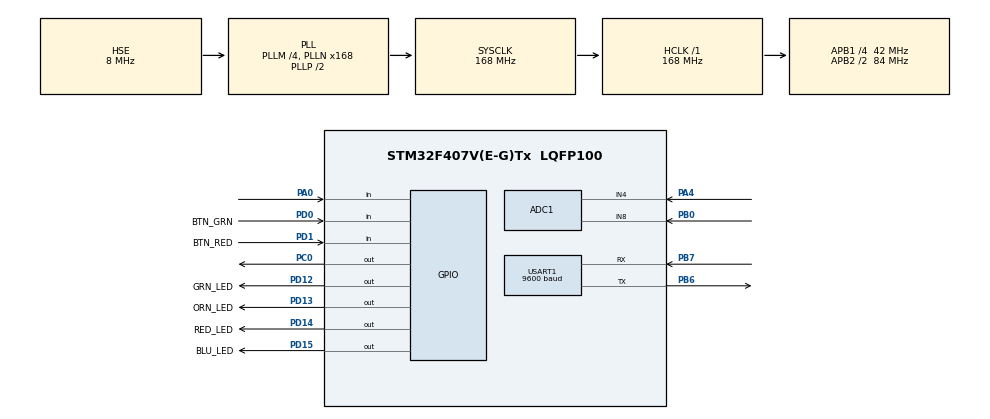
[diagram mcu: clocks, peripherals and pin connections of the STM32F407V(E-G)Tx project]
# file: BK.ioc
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ADC1.Channel-0\#ChannelRegularConversion=ADC_CHANNEL_4
ADC1.Channel-1\#ChannelRegularConversion=ADC_CHANNEL_8
ADC1.ClockPrescaler=ADC_CLOCK_SYNC_PCLK_DIV8
ADC1.ContinuousConvMode=ENABLE
ADC1.DMAContinuousRequests=ENABLE
ADC1.NbrOfConversion=2
ADC1.NbrOfConversionFlag=1
ADC1.Rank-0\#ChannelRegularConversion=1
ADC1.Rank-1\#ChannelRegularConversion=2
ADC1.SamplingTime-0\#ChannelRegularConversion=ADC_SAMPLETIME_480CYCLES
ADC1.SamplingTime-1\#ChannelRegularConversion=ADC_SAMPLETIME_480CYCLES
ADC1.ScanConvMode=ENABLE
ADC1.master=1
Dma.ADC1.0.Direction=DMA_PERIPH_TO_MEMORY
Dma.ADC1.0.FIFOMode=DMA_FIFOMODE_DISABLE
Dma.ADC1.0.Instance=DMA2_Stream0
Dma.ADC1.0.MemDataAlignment=DMA_MDATAALIGN_WORD
Dma.ADC1.0.MemInc=DMA_MINC_ENABLE
Dma.ADC1.0.Mode=DMA_CIRCULAR
Dma.ADC1.0.PeriphDataAlignment=DMA_PDATAALIGN_WORD
Dma.ADC1.0.PeriphInc=DMA_PINC_DISABLE
Dma.ADC1.0.Priority=DMA_PRIORITY_LOW
Dma.Request0=ADC1
Mcu.Family=STM32F4
Mcu.Name=STM32F407V(E-G)Tx
Mcu.Package=LQFP100
NVIC.DMA2_Stream0_IRQn=true\:0\:0\:false\:false\:true\:false\:true
NVIC.PriorityGroup=NVIC_PRIORITYGROUP_0
NVIC.TIM2_IRQn=true\:0\:0\:false\:false\:true\:true\:true
NVIC.USART1_IRQn=true\:0\:0\:false\:false\:true\:true\:true
PA0-WKUP.Signal=GPIO_Input
PA4.Signal=ADCx_IN4
PB0.Signal=ADCx_IN8
PB6.Mode=Asynchronous
PB6.Signal=USART1_TX
PB7.Mode=Asynchronous
PB7.Signal=USART1_RX
PC0.Signal=GPIO_Output
PD0.GPIO_Label=BTN_GRN
PD0.GPIO_PuPd=GPIO_PULLUP
PD0.Signal=GPIO_Input
PD1.GPIO_Label=BTN_RED
PD1.GPIO_PuPd=GPIO_PULLUP
PD1.Signal=GPIO_Input
PD12.GPIO_Label=GRN_LED
PD12.Signal=GPIO_Output
PD13.GPIO_Label=ORN_LED
PD13.Signal=GPIO_Output
PD14.GPIO_Label=RED_LED
PD14.Signal=GPIO_Output
PD15.GPIO_Label=BLU_LED
PD15.Signal=GPIO_Output
PH0-OSC_IN.Mode=HSE-External-Oscillator
PH0-OSC_IN.Signal=RCC_OSC_IN
PH1-OSC_OUT.Mode=HSE-External-Oscillator
PH1-OSC_OUT.Signal=RCC_OSC_OUT
ProjectManager.HeapSize=0x200
ProjectManager.StackSize=0x400
ProjectManager.TargetToolchain=STM32CubeIDE
RCC.48MHZClocksFreq_Value=48000000
RCC.AHBFreq_Value=168000000
RCC.APB1CLKDivider=RCC_HCLK_DIV4
RCC.APB1Freq_Value=42000000
RCC.APB1TimFreq_Value=84000000
RCC.APB2CLKDivider=RCC_HCLK_DIV2
RCC.APB2Freq_Value=84000000
RCC.APB2TimFreq_Value=168000000
RCC.CortexFreq_Value=168000000
RCC.HCLKFreq_Value=168000000
RCC.HSE_VALUE=8000000
RCC.HSI_VALUE=16000000
RCC.LSE_VALUE=32768
RCC.PLLM=4
RCC.PLLN=168
RCC.PLLQ=7
RCC.PLLSourceVirtual=RCC_PLLSOURCE_HSE
RCC.SYSCLKFreq_VALUE=168000000
RCC.SYSCLKSource=RCC_SYSCLKSOURCE_PLLCLK
RCC.VCOOutputFreq_Value=336000000
SH.ADCx_IN4.0=ADC1_IN4,IN4
SH.ADCx_IN8.0=ADC1_IN8,IN8
TIM2.Period=1
TIM2.Prescaler=42000
USART1.BaudRate=9600
USART1.VirtualMode=VM_ASYNC
VP_TIM2_VS_ClockSourceINT.Mode=Internal
board=STM32F407G-DISC1

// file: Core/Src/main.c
/* USER CODE BEGIN Header */
/**
  ******************************************************************************
  * @file           : main.c
  * @brief          : Main program body
  ******************************************************************************
  * @attention
  *
  * <h2><center>&copy; Copyright (c) 2020 STMicroelectronics.
  * All rights reserved.</center></h2>
  *
  * This software component is licensed by ST under Ultimate Liberty license
  * SLA0044, the "License"; You may not use this file except in compliance with
  * the License. You may obtain a copy of the License at:
  *                             www.st.com/SLA0044
  *
  ******************************************************************************
  */
/* USER CODE END Header */
#include "main.h"

ADC_HandleTypeDef hadc1;
DMA_HandleTypeDef hdma_adc1;

TIM_HandleTypeDef htim2;

UART_HandleTypeDef huart1;

/* USER CODE BEGIN PV */

//------------------------------------------------------------------------------------- UART variables
uint8_t U1_RxChar;

//------------------------------------------------------------------------------------- ADC variables
uint32_t ADC1_Values[2];							// DMA puts integer conversions here
float ADC1_4V;                        // We convert to volts and save it in these variables
float ADC1_8V;

// ------------ Utility Timer Variables
uint16_t B1dbTimer;
uint8_t B1Pressed_F;
uint8_t B1ActionTaken_F;
uint16_t B1HoldTime;

uint16_t BGrnDbTimer;
uint8_t BGrnPressed_F;
uint8_t BGrnActionTaken_F;
uint16_t BGrnHoldTime;

uint16_t BRedDbTimer;
uint8_t BRedPressed_F;
uint8_t BRedActionTaken_F;
uint16_t BRedHoldTime;

// msec Timing: Make utility timers 16-bit
uint16_t TestTimer;

// sec Timing
uint16_t SecsCounter;

// LED Direction
uint8_t LedDirection = CLOCKWISE;
uint8_t LedStates[] = { LED_RED, LED_BLU, LED_GRN, LED_ORN };
uint8_t LedCount = 4;
uint8_t LedStatesIndex = 0;
uint16_t LEDWaitTimeMs = 1000;

/* USER CODE END PV */

void SystemClock_Config(void);
static void MX_GPIO_Init(void);
static void MX_TIM2_Init(void);
static void MX_DMA_Init(void);
static void MX_ADC1_Init(void);
static void MX_USART1_UART_Init(void);
/* USER CODE BEGIN PFP */
void CheckSWs(void);
void CheckPots(void);
void UpdateLEDState(void);
void handleBtn1Pressed(void);
void handleBtnGrnPressed(void);
void handleBtnRedPressed(void);
/* USER CODE END PFP */

int main(void)
{
  /* USER CODE BEGIN 1 */
  char WorkStr[32];

  /* USER CODE END 1 */

  /* MCU Configuration--------------------------------------------------------*/

  /* Reset of all peripherals, Initializes the Flash interface and the Systick. */
  HAL_Init();

  /* Configure the system clock */
  SystemClock_Config();

  /* Initialize all configured peripherals */
  MX_GPIO_Init();
  MX_TIM2_Init();
  MX_DMA_Init();
  MX_ADC1_Init();
  MX_USART1_UART_Init();
  /* USER CODE BEGIN 2 */
  HAL_TIM_Base_Start_IT(&htim2);
  USART1->CR1 |= 1<<5;  //USART1_CR1_RE;  // Enable RXNE interrupt (receiver not empty)
  HAL_ADC_Start_DMA(&hadc1, (uint32_t *) ADC1_Values, 2);
  /* USER CODE END 2 */

  /* Infinite loop */
  while (1)
  {

    /* USER CODE BEGIN 3 */

	if (!TestTimer)
	{
		TestTimer = 100;
		sprintf(WorkStr, "Red input: %3.2f   Green Input: %3.2f\r\n", ADC1_4V, ADC1_8V);
		HAL_UART_Transmit(&huart1, (uint8_t*) WorkStr, strlen(WorkStr), 100);
	}

	CheckPots();
	CheckSWs();
	UpdateLEDState();

  }
  /* USER CODE END 3 */
}

void SystemClock_Config(void)
{
  RCC_OscInitTypeDef RCC_OscInitStruct = {0};
  RCC_ClkInitTypeDef RCC_ClkInitStruct = {0};

  /** Configure the main internal regulator output voltage
  */
  __HAL_RCC_PWR_CLK_ENABLE();
  __HAL_PWR_VOLTAGESCALING_CONFIG(PWR_REGULATOR_VOLTAGE_SCALE1);
  /** Initializes the RCC Oscillators according to the specified parameters
  * in the RCC_OscInitTypeDef structure.
  */
  RCC_OscInitStruct.OscillatorType = RCC_OSCILLATORTYPE_HSE;
  RCC_OscInitStruct.HSEState = RCC_HSE_ON;
  RCC_OscInitStruct.PLL.PLLState = RCC_PLL_ON;
  RCC_OscInitStruct.PLL.PLLSource = RCC_PLLSOURCE_HSE;
  RCC_OscInitStruct.PLL.PLLM = 4;
  RCC_OscInitStruct.PLL.PLLN = 168;
  RCC_OscInitStruct.PLL.PLLP = RCC_PLLP_DIV2;
  RCC_OscInitStruct.PLL.PLLQ = 7;
  if (HAL_RCC_OscConfig(&RCC_OscInitStruct) != HAL_OK)
  {
    Error_Handler();
  }
  /** Initializes the CPU, AHB and APB buses clocks
  */
  RCC_ClkInitStruct.ClockType = RCC_CLOCKTYPE_HCLK|RCC_CLOCKTYPE_SYSCLK
                              |RCC_CLOCKTYPE_PCLK1|RCC_CLOCKTYPE_PCLK2;
  RCC_ClkInitStruct.SYSCLKSource = RCC_SYSCLKSOURCE_PLLCLK;
  RCC_ClkInitStruct.AHBCLKDivider = RCC_SYSCLK_DIV1;
  RCC_ClkInitStruct.APB1CLKDivider = RCC_HCLK_DIV4;
  RCC_ClkInitStruct.APB2CLKDivider = RCC_HCLK_DIV2;

  if (HAL_RCC_ClockConfig(&RCC_ClkInitStruct, FLASH_LATENCY_5) != HAL_OK)
  {
    Error_Handler();
  }
}

static void MX_ADC1_Init(void)
{

  ADC_ChannelConfTypeDef sConfig = {0};

  /** Configure the global features of the ADC (Clock, Resolution, Data Alignment and number of conversion)
  */
  hadc1.Instance = ADC1;
  hadc1.Init.ClockPrescaler = ADC_CLOCK_SYNC_PCLK_DIV8;
  hadc1.Init.Resolution = ADC_RESOLUTION_12B;
  hadc1.Init.ScanConvMode = ENABLE;
  hadc1.Init.ContinuousConvMode = ENABLE;
  hadc1.Init.DiscontinuousConvMode = DISABLE;
  hadc1.Init.ExternalTrigConvEdge = ADC_EXTERNALTRIGCONVEDGE_NONE;
  hadc1.Init.ExternalTrigConv = ADC_SOFTWARE_START;
  hadc1.Init.DataAlign = ADC_DATAALIGN_RIGHT;
  hadc1.Init.NbrOfConversion = 2;
  hadc1.Init.DMAContinuousRequests = ENABLE;
  hadc1.Init.EOCSelection = ADC_EOC_SINGLE_CONV;
  if (HAL_ADC_Init(&hadc1) != HAL_OK)
  {
    Error_Handler();
  }
  /** Configure for the selected ADC regular channel its corresponding rank in the sequencer and its sample time.
  */
  sConfig.Channel = ADC_CHANNEL_4;
  sConfig.Rank = 1;
  sConfig.SamplingTime = ADC_SAMPLETIME_480CYCLES;
  if (HAL_ADC_ConfigChannel(&hadc1, &sConfig) != HAL_OK)
  {
    Error_Handler();
  }
  /** Configure for the selected ADC regular channel its corresponding rank in the sequencer and its sample time.
  */
  sConfig.Channel = ADC_CHANNEL_8;
  sConfig.Rank = 2;
  if (HAL_ADC_ConfigChannel(&hadc1, &sConfig) != HAL_OK)
  {
    Error_Handler();
  }

}

static void MX_TIM2_Init(void)
{

  TIM_ClockConfigTypeDef sClockSourceConfig = {0};
  TIM_MasterConfigTypeDef sMasterConfig = {0};

  htim2.Instance = TIM2;
  htim2.Init.Prescaler = 42000;
  htim2.Init.CounterMode = TIM_COUNTERMODE_UP;
  htim2.Init.Period = 1;
  htim2.Init.ClockDivision = TIM_CLOCKDIVISION_DIV1;
  htim2.Init.AutoReloadPreload = TIM_AUTORELOAD_PRELOAD_DISABLE;
  if (HAL_TIM_Base_Init(&htim2) != HAL_OK)
  {
    Error_Handler();
  }
  sClockSourceConfig.ClockSource = TIM_CLOCKSOURCE_INTERNAL;
  if (HAL_TIM_ConfigClockSource(&htim2, &sClockSourceConfig) != HAL_OK)
  {
    Error_Handler();
  }
  sMasterConfig.MasterOutputTrigger = TIM_TRGO_RESET;
  sMasterConfig.MasterSlaveMode = TIM_MASTERSLAVEMODE_DISABLE;
  if (HAL_TIMEx_MasterConfigSynchronization(&htim2, &sMasterConfig) != HAL_OK)
  {
    Error_Handler();
  }

}

static void MX_USART1_UART_Init(void)
{

  huart1.Instance = USART1;
  huart1.Init.BaudRate = 9600;
  huart1.Init.WordLength = UART_WORDLENGTH_8B;
  huart1.Init.StopBits = UART_STOPBITS_1;
  huart1.Init.Parity = UART_PARITY_NONE;
  huart1.Init.Mode = UART_MODE_TX_RX;
  huart1.Init.HwFlowCtl = UART_HWCONTROL_NONE;
  huart1.Init.OverSampling = UART_OVERSAMPLING_16;
  if (HAL_UART_Init(&huart1) != HAL_OK)
  {
    Error_Handler();
  }

}

static void MX_DMA_Init(void)
{

  /* DMA controller clock enable */
  __HAL_RCC_DMA2_CLK_ENABLE();

  /* DMA interrupt init */
  /* DMA2_Stream0_IRQn interrupt configuration */
  HAL_NVIC_SetPriority(DMA2_Stream0_IRQn, 0, 0);
  HAL_NVIC_EnableIRQ(DMA2_Stream0_IRQn);

}

static void MX_GPIO_Init(void)
{
  GPIO_InitTypeDef GPIO_InitStruct = {0};

  /* GPIO Ports Clock Enable */
  __HAL_RCC_GPIOH_CLK_ENABLE();
  __HAL_RCC_GPIOC_CLK_ENABLE();
  __HAL_RCC_GPIOA_CLK_ENABLE();
  __HAL_RCC_GPIOB_CLK_ENABLE();
  __HAL_RCC_GPIOD_CLK_ENABLE();

  /*Configure GPIO pin Output Level */
  HAL_GPIO_WritePin(GPIOC, GPIO_PIN_0, GPIO_PIN_RESET);

  /*Configure GPIO pin Output Level */
  HAL_GPIO_WritePin(GPIOD, GRN_LED_Pin|ORN_LED_Pin|RED_LED_Pin|BLU_LED_Pin, GPIO_PIN_RESET);

  /*Configure GPIO pin : PC0 */
  GPIO_InitStruct.Pin = GPIO_PIN_0;
  GPIO_InitStruct.Mode = GPIO_MODE_OUTPUT_PP;
  GPIO_InitStruct.Pull = GPIO_NOPULL;
  GPIO_InitStruct.Speed = GPIO_SPEED_FREQ_LOW;
  HAL_GPIO_Init(GPIOC, &GPIO_InitStruct);

  /*Configure GPIO pin : PA0 */
  GPIO_InitStruct.Pin = GPIO_PIN_0;
  GPIO_InitStruct.Mode = GPIO_MODE_INPUT;
  GPIO_InitStruct.Pull = GPIO_NOPULL;
  HAL_GPIO_Init(GPIOA, &GPIO_InitStruct);

  /*Configure GPIO pins : GRN_LED_Pin ORN_LED_Pin RED_LED_Pin BLU_LED_Pin */
  GPIO_InitStruct.Pin = GRN_LED_Pin|ORN_LED_Pin|RED_LED_Pin|BLU_LED_Pin;
  GPIO_InitStruct.Mode = GPIO_MODE_OUTPUT_PP;
  GPIO_InitStruct.Pull = GPIO_NOPULL;
  GPIO_InitStruct.Speed = GPIO_SPEED_FREQ_LOW;
  HAL_GPIO_Init(GPIOD, &GPIO_InitStruct);

  /*Configure GPIO pins : BTN_GRN_Pin BTN_RED_Pin */
  GPIO_InitStruct.Pin = BTN_GRN_Pin|BTN_RED_Pin;
  GPIO_InitStruct.Mode = GPIO_MODE_INPUT;
  GPIO_InitStruct.Pull = GPIO_PULLUP;
  HAL_GPIO_Init(GPIOD, &GPIO_InitStruct);

}

/* USER CODE BEGIN 4 */
// Use TIM2 as 1ms utility timer...
void HAL_TIM_PeriodElapsedCallback(TIM_HandleTypeDef *htim)
{
	// --------------------------------------------
	// Millisecond timers:
	// --------------------------------------------

	// These timers can be disabled... Set the timer to TIMER_DISABLE (Defined as 0xFFFFFF) and then
	if (TestTimer)
		TestTimer--;

	++SecsCounter;
	if ( SecsCounter == 1000)
	{
		SecsCounter = 0;

		// Handle any 1 sec events or counters...
//		BLU_LED_TOGGLE();
	}

	if ( B1 != BUTTON_PRESSED)
	{
		B1dbTimer = 0;
		B1Pressed_F = FALSE;
	}
	else
	{
		if (B1dbTimer < 255)
			++B1dbTimer;
		if ( B1dbTimer > DB_TIME )
			B1Pressed_F = TRUE;

	}

	if ( B_GRN != B_GRN_PRESSED)
	{
		BGrnDbTimer = 0;
		BGrnPressed_F = FALSE;
	}
	else
	{
		if (BGrnDbTimer < 255)
			++BGrnDbTimer;
		if ( BGrnDbTimer > DB_TIME )
			BGrnPressed_F = TRUE;
	}

	if ( B_RED != B_RED_PRESSED)
	{
		BRedDbTimer = 0;
		BRedPressed_F = FALSE;
	}
	else
	{
		if (BRedDbTimer < 255)
			++BRedDbTimer;
		if ( BRedDbTimer > DB_TIME )
			BRedPressed_F = TRUE;
	}

	LED_Timer++;
}

void CheckSWs(void)
{
	if (B1Pressed_F && !B1ActionTaken_F)
	{
		handleBtn1Pressed();
		B1ActionTaken_F = TRUE;
	}
	else if ( !B1Pressed_F && (B1ActionTaken_F))
	{
		B1ActionTaken_F = FALSE;
	}

	if (BGrnPressed_F && !BGrnActionTaken_F)
	{
		handleBtnGrnPressed();
		BGrnActionTaken_F = TRUE;
	}
	else if ( !BGrnPressed_F && (BGrnActionTaken_F))
	{
		BGrnActionTaken_F = FALSE;
	}

	if (BRedPressed_F && !BRedActionTaken_F)
	{
		handleBtnRedPressed();
		BRedActionTaken_F = TRUE;
	}
	else if ( !BRedPressed_F && (BRedActionTaken_F))
	{

		BRedActionTaken_F = FALSE;
	}
}

void CheckPots(void)
{
  LEDWaitTimeMs = abs((uint16_t) (1000.0 - (ADC1_4V / 3.3) * 1000.0));
}

void handleBtnRedPressed(void)
{
	if (LedDirection == CLOCKWISE)
	{
		LedDirection = COUNTERCLOCKWISE;
	}
	else
	{
		LedDirection = CLOCKWISE;
	}
}

void handleBtnGrnPressed(void)
{
	if (LED_State == LED_IDLE)
	{
		LED_Start = TRUE;
		LED_Timer = 0;
	}
	else
	{
		GRN_LED_OFF();
		ORN_LED_OFF();
		RED_LED_OFF();
		BLU_LED_OFF();

		LED_Start = FALSE;
		LED_State = LED_IDLE;
	}

}

void handleBtn1Pressed(void)
{
	LED_Start = TRUE;
	LED_Timer = 0;
}

void UpdateLEDState(void)
{
	// Place "always" code here then check each state
	if (LED_State == LED_IDLE)
	{
		if (LED_Start)
		{
			LED_Start = FALSE;
			RED_LED_ON();
			LED_State = LED_RED;
			LED_Timer = 0;
		}
	}
	else if (LED_Timer > LEDWaitTimeMs)
	{
		if (LedDirection == CLOCKWISE)
		{
			LedStatesIndex++;

			// IF it's at the end of the array, start over
			if (LedStatesIndex >= LedCount)
			{
				LedStatesIndex = 0;
			}
		}
		// ELSE LedDirection == COUNTERCLOCKWISE
		else
		{
			if (LedStatesIndex == 0)
			{
				LedStatesIndex = LedCount - 1;
			}
			else
			{
				LedStatesIndex--;
			}
		}
		SwitchLED(LED_State, LedStates[LedStatesIndex]);
		LED_Timer = 0;
	}

}

void SwitchLED(uint8_t oldState, uint8_t newState)
{
	switch (oldState) {
	case LED_RED:
		RED_LED_OFF();
		break;
	case LED_BLU:
		BLU_LED_OFF();
		break;
	case LED_GRN:
		GRN_LED_OFF();
		break;
	case LED_ORN:
		ORN_LED_OFF();
		break;
	}

	switch (newState) {
	case LED_RED:
		RED_LED_ON();
		break;
	case LED_BLU:
		BLU_LED_ON();
		break;
	case LED_GRN:
		GRN_LED_ON();
		break;
	case LED_ORN:
		ORN_LED_ON();
		break;
	}
	LED_State = newState;
}

/* USER CODE END 4 */

void Error_Handler(void)
{
}

/************************ (C) COPYRIGHT STMicroelectronics *****END OF FILE****/
